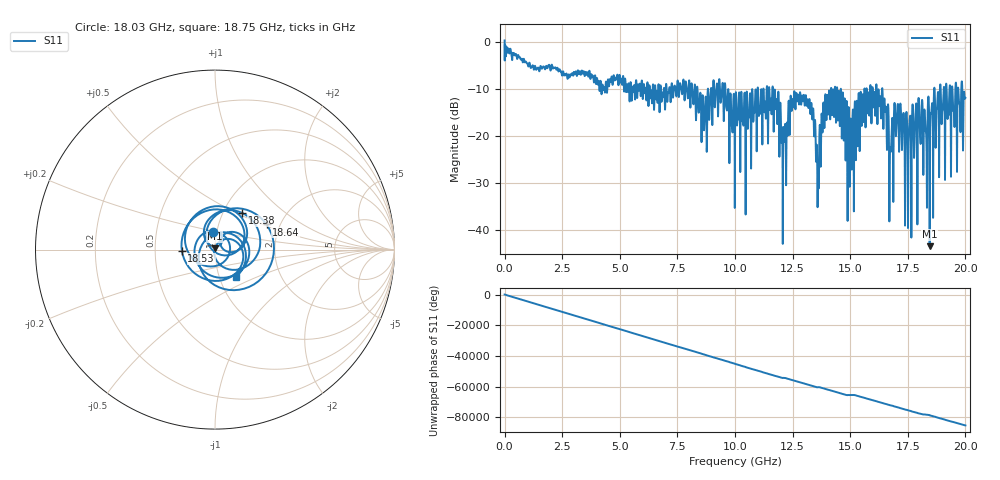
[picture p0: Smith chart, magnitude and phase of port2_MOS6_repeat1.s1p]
! MS46122B
! 2250307/22442219
! 7/23/2025 1:17:33 PM
! C:\USERS\SPARKY\DOCUMENTS\VNA_DATA\JULY23_2025\295K\PORT2_MOS6_REPEAT1.S1P
! CHANNEL.1
! TR.MEASUREMENT
! RAW.DATA
# GHZ S RI R 50.0
! FREQ.GHZ  S11RE  S11IM
!; PortSelection: Port_1
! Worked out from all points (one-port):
!   10001 points, 1 MHz to 20 GHz, reference 50 ohm
!   lowest |S11| = -43.5 dB at 18.45 GHz (marker M1), VSWR 1.01, Z = 49.9 + j0.668 ohm
!   |S11| at or under -10 dB: 9.711 GHz to 10.74 GHz (1.033 GHz wide, 10.1 % of centre); 11.65 GHz to 14.17 GHz (2.52 GHz wide, 19.5 % of centre); 16.4 GHz to 18.64 GHz (2.244 GHz wide, 12.8 % of centre) (the widest 3 of 71)
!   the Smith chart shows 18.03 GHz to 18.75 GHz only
!   S11 on the Smith chart (normalised r, x): 18.03 GHz: 0.96, +0.19; 18.38 GHz: 1.22, +0.54; 18.53 GHz: 0.69, -0.01; 18.64 GHz: 1.70, +0.53; 18.75 GHz: 1.19, -0.38
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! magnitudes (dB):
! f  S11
! 1 MHz  0.4
! 2.501 GHz  -7.0
! 5.001 GHz  -7.2
! 7.501 GHz  -8.4
! 8.705 GHz  -13.1
! 9.391 GHz  -12.5
! 10 GHz  -21.6
! 11.8 GHz  -12.2
! 12.14 GHz  -21.2
! 12.5 GHz  -12.1
! 13.31 GHz  -13.0
! 13.58 GHz  -35.1
! 13.84 GHz  -12.8
! 14.09 GHz  -10.3
! 14.51 GHz  -10.4
! 15 GHz  -18.3
! 16.05 GHz  -10.7
! 16.47 GHz  -12.7
! 16.78 GHz  -21.8
! 17 GHz  -19.2
! 17.5 GHz  -29.6
! 18.03 GHz  -20.2
! 18.38 GHz  -11.9
! 18.45 GHz  -43.5
! 18.53 GHz  -14.7
! 18.64 GHz  -9.9
! 18.75 GHz  -14.3
! 20 GHz  -11.9
